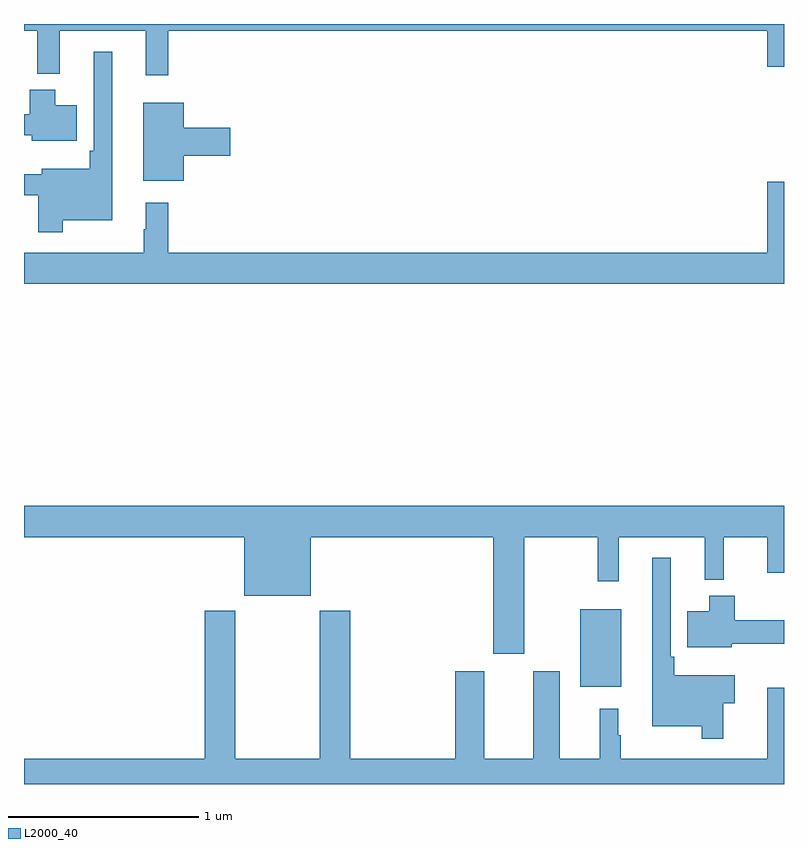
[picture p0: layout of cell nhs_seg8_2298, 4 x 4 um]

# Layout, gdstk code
import gdstk
lib = gdstk.Library(unit=1e-6, precision=1e-09)
def R(c, l, rs):  # rectangles x0, y0, x1, y1
    for r in rs: c.add(gdstk.rectangle(r[:2], r[2:], *l))
def P(c, l, *ps):  # polygons
    for p in ps: c.add(gdstk.Polygon(p, *l))
L2000_40 = (2000, 40)

nhs_seg8_2298 = lib.new_cell('nhs_seg8_2298')
R(nhs_seg8_2298, L2000_40, [(259.928,1082.411,260.143,1082.821)])
P(nhs_seg8_2298, L2000_40, [(257.759,1085.864),(260.912,1085.864),(260.912,1085.676),(261,1085.676),(261,1085.9),(257,1085.9),(257,1085.864),(257.071,1085.864),(257.071,1085.639),(257.189,1085.639),(257.189,1085.864),(257.642,1085.864),(257.642,1085.631),(257.759,1085.631)],
  [(257.203,1084.868),(257.464,1084.868),(257.464,1085.755),(257.367,1085.755),(257.367,1085.233),(257.347,1085.233),(257.347,1085.137),(257.093,1085.137),(257.093,1085.108),(257,1085.108),(257,1084.998),(257.074,1084.998),(257.074,1084.803),(257.203,1084.803)],
  [(257.278,1085.473),(257.164,1085.473),(257.164,1085.554),(257.029,1085.554),(257.029,1085.425),(257,1085.425),(257,1085.315),(257.042,1085.315),(257.042,1085.285),(257.278,1085.285)],
  [(257.842,1085.207),(258.085,1085.207),(258.085,1085.354),(257.842,1085.354),(257.842,1085.485),(257.627,1085.485),(257.627,1085.075),(257.842,1085.075)],
  [(261,1085.071),(260.912,1085.071),(260.912,1084.696),(257.759,1084.696),(257.759,1084.96),(257.642,1084.96),(257.642,1084.82),(257.631,1084.82),(257.631,1084.696),(257,1084.696),(257,1084.532),(261,1084.532)],
  [(259.633,1083.2),(260.019,1083.2),(260.019,1082.967),(260.129,1082.967),(260.129,1083.2),(260.582,1083.2),(260.582,1082.975),(260.682,1082.975),(260.682,1083.2),(260.912,1083.2),(260.912,1083.012),(261,1083.012),(261,1083.364),(257,1083.364),(257,1083.2),(258.158,1083.2),(258.158,1082.891),(258.508,1082.891),(258.508,1083.2),(259.469,1083.2),(259.469,1082.586),(259.633,1082.586)],
  [(260.679,1082.326),(260.74,1082.326),(260.74,1082.473),(260.423,1082.473),(260.423,1082.569),(260.403,1082.569),(260.403,1083.091),(260.306,1083.091),(260.306,1082.204),(260.568,1082.204),(260.568,1082.139),(260.679,1082.139)],
  [(260.724,1082.639),(261,1082.639),(261,1082.761),(260.741,1082.761),(260.741,1082.89),(260.606,1082.89),(260.606,1082.809),(260.492,1082.809),(260.492,1082.621),(260.724,1082.621)],
  [(260.14,1082.156),(260.128,1082.156),(260.128,1082.296),(260.029,1082.296),(260.029,1082.032),(259.819,1082.032),(259.819,1082.494),(259.679,1082.494),(259.679,1082.032),(259.423,1082.032),(259.423,1082.494),(259.271,1082.494),(259.271,1082.032),(258.716,1082.032),(258.716,1082.812),(258.556,1082.812),(258.556,1082.032),(258.111,1082.032),(258.111,1082.812),(257.951,1082.812),(257.951,1082.032),(257,1082.032),(257,1081.9),(261,1081.9),(261,1082.407),(260.912,1082.407),(260.912,1082.032),(260.14,1082.032)])

lib.write_gds('nhs_seg8_2298.gds')
